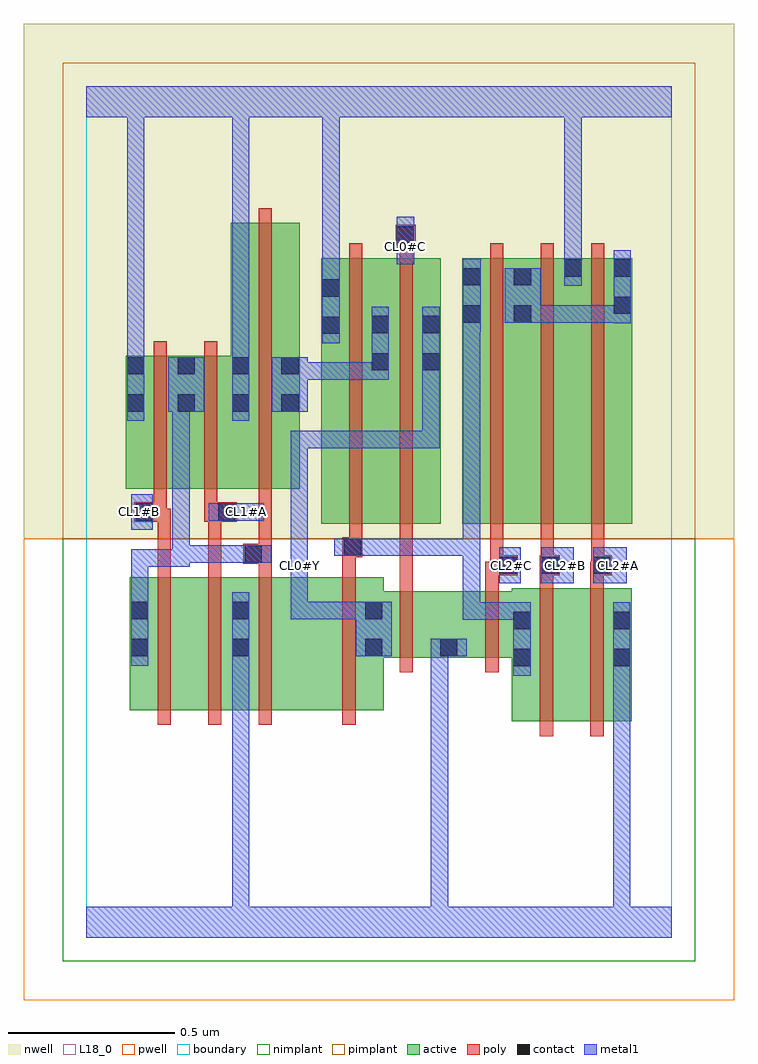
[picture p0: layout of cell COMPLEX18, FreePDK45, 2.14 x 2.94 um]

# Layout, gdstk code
import gdstk
lib = gdstk.Library(unit=1e-6, precision=1e-09)
def R(c, l, rs):  # rectangles x0, y0, x1, y1
    for r in rs: c.add(gdstk.rectangle(r[:2], r[2:], *l))
def A(c, l, x, y, w, h, nx, ny, dx, dy):  # array of equal rectangles
    R(c, l, [(x+i*dx, y+j*dy, x+i*dx+w, y+j*dy+h) for i in range(nx) for j in range(ny)])
active = (1, 0)
pwell = (2, 0)
nwell = (3, 0)
nimplant = (4, 0)
pimplant = (5, 0)
poly = (9, 0)
contact = (10, 0)
metal1 = (11, 0)
L18_0 = (18, 0)
boundary = (235, 0)

complex18 = lib.new_cell('COMPLEX18')
R(complex18, active, [(1.28,0.65,1.46,1.05), (1.28,0.65,1.34,0.984), (1.46,0.65,1.64,1.05), (0.13,0.684,0.31,1.084), (0.31,0.684,0.494,1.084), (0.434,0.684,0.614,1.084), (0.614,0.684,0.894,1.084), (0.834,0.684,0.894,1.014), (0.13,0.756,0.19,1.084), (0.434,0.756,0.494,1.084), (1.58,0.756,1.64,1.05), (0.834,0.842,1.12,1.042), (1.06,0.842,1.34,1.042), (1.06,0.842,1.12,0.902), (0.706,1.244,0.766,2.044), (0.706,1.244,0.914,2.044), (0.854,1.244,0.914,2.044), (0.854,1.244,1.066,2.044), (1.006,1.244,1.066,2.044), (1.13,1.244,1.19,2.044), (1.13,1.244,1.342,2.044), (1.282,1.244,1.494,2.044), (1.434,1.244,1.642,2.044), (1.582,1.244,1.642,2.044), (0.118,1.35,0.178,1.75), (0.118,1.35,0.33,1.75), (0.27,1.35,0.33,1.75), (0.27,1.35,0.494,1.75), (0.434,1.35,0.642,2.15), (0.434,1.35,0.494,1.75), (0.582,1.35,0.642,2.044), (1.282,1.686,1.342,2.044), (1.434,1.686,1.494,2.044)])
R(complex18, pwell, [(-0.188,-0.188,1.948,1.2)])
R(complex18, nwell, [(-0.188,1.2,1.948,2.748)])
R(complex18, nimplant, [(-0.072,-0.072,1.832,1.2)])
R(complex18, pimplant, [(-0.072,1.2,1.832,2.632)])
A(complex18, poly, 0.214, 0.64, 0.04, 0.488, 3, 1, 0.152, 0)
A(complex18, poly, 1.214, 1.11, 0.04, 0.13, 3, 1, 0.152, 0)
A(complex18, poly, 1.214, 1.2, 0.04, 0.888, 3, 1, 0.152, 0)
R(complex18, poly, [(1.364,0.606,1.404,1.094), (1.516,0.606,1.556,1.094), (0.77,0.64,0.81,1.128), (0.942,0.798,0.982,1.086), (1.2,0.798,1.24,1.086), (0.942,1.046,0.982,1.122), (1.2,1.046,1.24,1.13), (1.364,1.054,1.404,1.13), (1.516,1.054,1.556,1.13), (0.942,1.082,0.982,1.122), (0.942,1.082,0.982,1.122), (0.942,1.082,0.982,1.122), (0.942,1.082,0.982,1.24), (0.214,1.088,0.254,1.29), (0.366,1.088,0.406,1.29), (0.518,1.088,0.558,1.164), (0.77,1.088,0.81,1.184), (1.2,1.09,1.254,1.13), (1.214,1.09,1.254,1.13), (1.214,1.09,1.298,1.15), (1.364,1.09,1.424,1.15), (1.516,1.09,1.558,1.13), (1.518,1.09,1.558,1.13), (1.518,1.09,1.58,1.15), (1.366,1.11,1.406,1.15), (1.366,1.11,1.406,1.15), (0.472,1.124,0.558,1.184), (0.518,1.144,0.558,1.184), (0.518,1.144,0.558,1.184), (0.518,1.144,0.558,1.346), (0.77,1.144,0.83,1.204), (0.79,1.164,0.83,1.204), (0.79,1.164,0.83,1.204), (0.79,1.164,0.83,1.24), (0.79,1.2,0.83,2.088), (0.942,1.2,0.982,2.088), (0.144,1.25,0.242,1.31), (0.202,1.25,0.242,1.29), (0.202,1.25,0.254,1.29), (0.354,1.25,0.452,1.31), (0.366,1.25,0.406,1.29), (0.366,1.25,0.406,1.29), (0.202,1.27,0.242,1.346), (0.354,1.27,0.394,1.346), (0.202,1.306,0.242,1.794), (0.354,1.306,0.394,1.794), (0.518,1.306,0.558,2.194), (0.942,2.048,0.982,2.124), (0.93,2.084,0.99,2.144)])
R(complex18, contact, [(1.284,0.816,1.336,0.868), (1.584,0.816,1.636,0.868), (0.134,0.846,0.186,0.898), (0.438,0.846,0.49,0.898), (0.838,0.846,0.89,0.898), (1.064,0.846,1.116,0.898), (1.284,0.928,1.336,0.98), (1.584,0.928,1.636,0.98), (0.134,0.958,0.186,1.01), (0.438,0.958,0.49,1.01), (0.838,0.958,0.89,1.01), (1.242,1.094,1.294,1.146), (1.368,1.094,1.42,1.146), (1.524,1.094,1.576,1.146), (0.476,1.128,0.528,1.18), (0.774,1.148,0.826,1.2), (0.148,1.254,0.2,1.306), (0.396,1.254,0.448,1.306), (0.122,1.582,0.174,1.634), (0.274,1.582,0.326,1.634), (0.438,1.582,0.49,1.634), (0.586,1.582,0.638,1.634), (0.122,1.694,0.174,1.746), (0.274,1.694,0.326,1.746), (0.438,1.694,0.49,1.746), (0.586,1.694,0.638,1.746), (0.858,1.706,0.91,1.758), (1.01,1.706,1.062,1.758), (0.71,1.816,0.762,1.868), (0.858,1.818,0.91,1.87), (1.01,1.818,1.062,1.87), (1.134,1.85,1.186,1.902), (1.286,1.85,1.338,1.902), (1.586,1.876,1.638,1.928), (0.71,1.928,0.762,1.98), (1.134,1.962,1.186,2.014), (1.286,1.962,1.338,2.014), (1.438,1.988,1.49,2.04), (1.586,1.988,1.638,2.04), (0.934,2.088,0.986,2.14)])
R(complex18, metal1, [(0,0,1.76,0.092), (0.438,0.04,0.49,0.87), (1.036,0.04,1.088,0.092), (1.036,0.04,1.088,0.092), (1.036,0.04,1.088,0.898), (1.584,0.04,1.636,0.092), (1.584,0.04,1.636,0.092), (1.584,0.04,1.636,0.84), (1.284,0.788,1.336,1.008), (1.584,0.788,1.636,1.008), (1.584,0.788,1.636,0.84), (1.584,0.788,1.636,0.84), (1.584,0.788,1.636,0.84), (1.584,0.788,1.636,0.84), (1.584,0.788,1.636,0.84), (1.584,0.788,1.636,0.84), (1.584,0.788,1.636,0.84), (1.584,0.788,1.636,0.84), (1.584,0.788,1.636,0.84), (1.584,0.788,1.636,0.84), (0.134,0.818,0.186,1.038), (0.438,0.818,0.49,1.038), (0.438,0.818,0.49,0.87), (0.438,0.818,0.49,0.87), (0.438,0.818,0.49,0.87), (0.438,0.818,0.49,0.87), (0.438,0.818,0.49,0.87), (0.438,0.818,0.49,0.87), (0.438,0.818,0.49,0.87), (0.438,0.818,0.49,0.87), (0.438,0.818,0.49,0.87), (0.438,0.818,0.49,0.87), (0.438,0.818,0.49,0.87), (0.438,0.818,0.49,0.87), (0.81,0.846,0.918,1.01), (1.036,0.846,1.088,0.898), (1.036,0.846,1.088,0.898), (1.036,0.846,1.088,0.898), (1.036,0.846,1.088,0.898), (1.036,0.846,1.088,0.898), (1.036,0.846,1.088,0.898), (1.036,0.846,1.088,0.898), (1.036,0.846,1.088,0.898), (1.036,0.846,1.088,0.898), (1.036,0.846,1.088,0.898), (1.036,0.846,1.088,0.898), (1.036,0.846,1.088,0.898), (1.036,0.846,1.088,0.898), (1.036,0.846,1.088,0.898), (1.036,0.846,1.144,0.898), (1.132,0.956,1.184,1.008), (1.132,0.956,1.184,1.008), (1.132,0.956,1.184,1.008), (1.132,0.956,1.336,1.008), (1.132,0.956,1.184,1.2), (0.614,0.958,0.666,1.01), (0.614,0.958,0.862,1.01), (0.614,0.958,0.666,1.118), (0.81,0.958,0.862,1.01), (0.81,0.958,0.862,1.01), (0.134,0.986,0.186,1.168), (0.614,1.066,0.666,1.174), (1.242,1.066,1.306,1.174), (1.368,1.066,1.466,1.174), (1.524,1.066,1.626,1.174), (0.134,1.116,0.186,1.168), (0.134,1.116,0.186,1.168), (0.134,1.116,0.186,1.168), (0.134,1.116,0.31,1.168), (0.258,1.116,0.31,1.18), (0.614,1.122,0.666,1.524), (0.258,1.128,0.31,1.18), (0.258,1.128,0.31,1.18), (0.258,1.128,0.31,1.18), (0.258,1.128,0.31,1.18), (0.258,1.128,0.5,1.18), (0.258,1.128,0.31,1.634), (0.448,1.128,0.5,1.18), (0.448,1.128,0.5,1.18), (0.448,1.128,0.556,1.18), (0.746,1.148,0.854,1.2), (0.802,1.148,0.854,1.2), (0.802,1.148,0.854,1.2), (0.802,1.148,0.972,1.2), (0.92,1.148,0.972,1.2), (0.92,1.148,0.972,1.2), (0.92,1.148,0.972,1.2), (0.92,1.148,1.184,1.2), (1.132,1.148,1.184,1.2), (1.132,1.148,1.184,1.2), (1.132,1.148,1.184,1.2), (1.132,1.148,1.184,1.874), (0.134,1.226,0.2,1.334), (0.368,1.254,0.534,1.306), (0.614,1.472,0.666,1.524), (0.614,1.472,0.776,1.524), (0.724,1.472,0.776,1.524), (0.724,1.472,0.776,1.524), (0.724,1.472,0.776,1.524), (0.724,1.472,0.978,1.524), (0.926,1.472,0.978,1.524), (0.926,1.472,1.062,1.524), (1.01,1.472,1.062,1.524), (1.01,1.472,1.062,1.73), (0.122,1.554,0.174,1.774), (0.438,1.554,0.49,1.774), (0.246,1.582,0.354,1.746), (0.558,1.582,0.666,1.746), (0.614,1.678,0.666,1.73), (0.614,1.678,0.666,1.73), (0.614,1.678,0.862,1.73), (0.81,1.678,0.862,1.73), (0.81,1.678,0.91,1.73), (0.858,1.678,0.91,1.898), (1.01,1.678,1.062,1.898), (0.122,1.722,0.174,1.774), (0.122,1.722,0.174,1.774), (0.122,1.722,0.174,1.774), (0.122,1.722,0.174,1.774), (0.122,1.722,0.174,1.774), (0.122,1.722,0.174,1.774), (0.122,1.722,0.174,2.52), (0.438,1.722,0.49,2.52), (0.71,1.788,0.762,2.008), (1.132,1.822,1.186,2.042), (1.586,1.848,1.638,2.068), (1.258,1.85,1.366,2.014), (1.314,1.85,1.366,1.902), (1.314,1.85,1.366,1.902), (1.314,1.85,1.526,1.902), (1.474,1.85,1.638,1.902), (1.474,1.85,1.526,1.902), (1.474,1.85,1.526,1.902), (1.474,1.85,1.526,1.902), (0.71,1.956,0.762,2.52), (1.438,1.96,1.49,2.068), (1.438,2.016,1.49,2.068), (1.438,2.016,1.49,2.068), (1.438,2.016,1.49,2.068), (1.438,2.016,1.49,2.068), (1.438,2.016,1.49,2.068), (1.438,2.016,1.49,2.068), (1.438,2.016,1.49,2.068), (1.438,2.016,1.49,2.068), (1.438,2.016,1.49,2.52), (0.934,2.026,0.986,2.168), (0,2.468,1.76,2.56), (0.122,2.468,0.174,2.52), (0.122,2.468,0.174,2.52), (0.122,2.468,0.174,2.52), (0.122,2.468,0.174,2.52), (0.122,2.468,0.174,2.52), (0.122,2.468,0.174,2.52), (0.122,2.468,0.174,2.52), (0.122,2.468,0.174,2.52), (0.122,2.468,0.174,2.52), (0.122,2.468,0.174,2.52), (0.438,2.468,0.49,2.52), (0.438,2.468,0.49,2.52), (0.438,2.468,0.49,2.52), (0.438,2.468,0.49,2.52), (0.438,2.468,0.49,2.52), (0.438,2.468,0.49,2.52), (0.438,2.468,0.49,2.52), (0.438,2.468,0.49,2.52), (0.71,2.468,0.762,2.52), (0.71,2.468,0.762,2.52), (0.71,2.468,0.762,2.52), (0.71,2.468,0.762,2.52), (0.71,2.468,0.762,2.52), (0.71,2.468,0.762,2.52), (0.71,2.468,0.762,2.52), (0.71,2.468,0.762,2.52)])
A(complex18, L18_0, 1.254, 1.094, 0.052, 0.052, 3, 1, 0.16, 0)
R(complex18, L18_0, [(0,0,1.76,0.092), (0.438,0.04,0.49,0.87), (1.036,0.04,1.088,0.092), (1.036,0.04,1.088,0.092), (1.036,0.04,1.088,0.898), (1.584,0.04,1.636,0.092), (1.584,0.04,1.636,0.092), (1.584,0.04,1.636,0.84), (1.584,0.788,1.636,1.008), (1.584,0.788,1.636,0.84), (1.584,0.788,1.636,0.84), (1.584,0.788,1.636,0.84), (1.584,0.788,1.636,0.84), (1.584,0.788,1.636,0.84), (1.584,0.788,1.636,0.84), (1.584,0.788,1.636,0.84), (1.584,0.788,1.636,0.84), (1.584,0.788,1.636,0.84), (1.584,0.788,1.636,0.84), (0.438,0.818,0.49,1.038), (0.438,0.818,0.49,0.87), (0.438,0.818,0.49,0.87), (0.438,0.818,0.49,0.87), (0.438,0.818,0.49,0.87), (0.438,0.818,0.49,0.87), (0.438,0.818,0.49,0.87), (0.438,0.818,0.49,0.87), (0.438,0.818,0.49,0.87), (0.438,0.818,0.49,0.87), (0.438,0.818,0.49,0.87), (0.438,0.818,0.49,0.87), (0.438,0.818,0.49,0.87), (0.81,0.846,0.918,1.01), (1.036,0.846,1.088,0.898), (1.036,0.846,1.088,0.898), (1.036,0.846,1.088,0.898), (1.036,0.846,1.088,0.898), (1.036,0.846,1.088,0.898), (1.036,0.846,1.088,0.898), (1.036,0.846,1.088,0.898), (1.036,0.846,1.088,0.898), (1.036,0.846,1.088,0.898), (1.036,0.846,1.088,0.898), (1.036,0.846,1.088,0.898), (1.036,0.846,1.088,0.898), (1.036,0.846,1.088,0.898), (1.036,0.846,1.088,0.898), (1.036,0.846,1.144,0.898), (0.614,0.958,0.666,1.01), (0.614,0.958,0.666,1.118), (0.614,0.958,0.862,1.01), (0.81,0.958,0.862,1.01), (0.81,0.958,0.862,1.01), (0.614,1.066,0.666,1.174), (1.242,1.066,1.306,1.174), (1.368,1.066,1.466,1.174), (1.524,1.066,1.626,1.174), (0.614,1.094,0.666,1.146), (0.614,1.122,0.666,1.524), (0.134,1.226,0.2,1.334), (0.134,1.254,0.186,1.306), (0.368,1.254,0.534,1.306), (0.454,1.254,0.506,1.306), (0.614,1.472,0.666,1.524), (0.614,1.472,0.776,1.524), (0.724,1.472,0.776,1.524), (0.724,1.472,0.776,1.524), (0.724,1.472,0.776,1.524), (0.724,1.472,0.978,1.524), (0.926,1.472,0.978,1.524), (0.926,1.472,1.062,1.524), (1.01,1.472,1.062,1.524), (1.01,1.472,1.062,1.73), (0.122,1.554,0.174,1.774), (0.438,1.554,0.49,1.774), (1.01,1.678,1.062,1.898), (0.122,1.722,0.174,1.774), (0.122,1.722,0.174,1.774), (0.122,1.722,0.174,1.774), (0.122,1.722,0.174,1.774), (0.122,1.722,0.174,1.774), (0.122,1.722,0.174,1.774), (0.122,1.722,0.174,2.52), (0.438,1.722,0.49,2.52), (0.71,1.788,0.762,2.008), (0.71,1.956,0.762,2.52), (1.438,1.96,1.49,2.068), (1.438,2.016,1.49,2.068), (1.438,2.016,1.49,2.068), (1.438,2.016,1.49,2.068), (1.438,2.016,1.49,2.068), (1.438,2.016,1.49,2.068), (1.438,2.016,1.49,2.068), (1.438,2.016,1.49,2.068), (1.438,2.016,1.49,2.068), (1.438,2.016,1.49,2.52), (0.934,2.026,0.986,2.168), (0.934,2.054,0.986,2.106), (0,2.468,1.76,2.56), (0.122,2.468,0.174,2.52), (0.122,2.468,0.174,2.52), (0.122,2.468,0.174,2.52), (0.122,2.468,0.174,2.52), (0.122,2.468,0.174,2.52), (0.122,2.468,0.174,2.52), (0.122,2.468,0.174,2.52), (0.122,2.468,0.174,2.52), (0.122,2.468,0.174,2.52), (0.122,2.468,0.174,2.52), (0.438,2.468,0.49,2.52), (0.438,2.468,0.49,2.52), (0.438,2.468,0.49,2.52), (0.438,2.468,0.49,2.52), (0.438,2.468,0.49,2.52), (0.438,2.468,0.49,2.52), (0.438,2.468,0.49,2.52), (0.438,2.468,0.49,2.52), (0.71,2.468,0.762,2.52), (0.71,2.468,0.762,2.52), (0.71,2.468,0.762,2.52), (0.71,2.468,0.762,2.52), (0.71,2.468,0.762,2.52), (0.71,2.468,0.762,2.52), (0.71,2.468,0.762,2.52), (0.71,2.468,0.762,2.52)])
R(complex18, boundary, [(0,0,1.76,2.56)])
complex18.add(gdstk.Label('CL0#C', (0.96,2.08), layer=11, texttype=0))
complex18.add(gdstk.Label('CL0#Y', (0.64,1.12), layer=11, texttype=0))
complex18.add(gdstk.Label('CL1#A', (0.48,1.28), layer=11, texttype=0))
complex18.add(gdstk.Label('CL1#B', (0.16,1.28), layer=11, texttype=0))
complex18.add(gdstk.Label('CL2#A', (1.6,1.12), layer=11, texttype=0))
complex18.add(gdstk.Label('CL2#B', (1.44,1.12), layer=11, texttype=0))
complex18.add(gdstk.Label('CL2#C', (1.28,1.12), layer=11, texttype=0))

lib.write_gds('COMPLEX18.gds')
